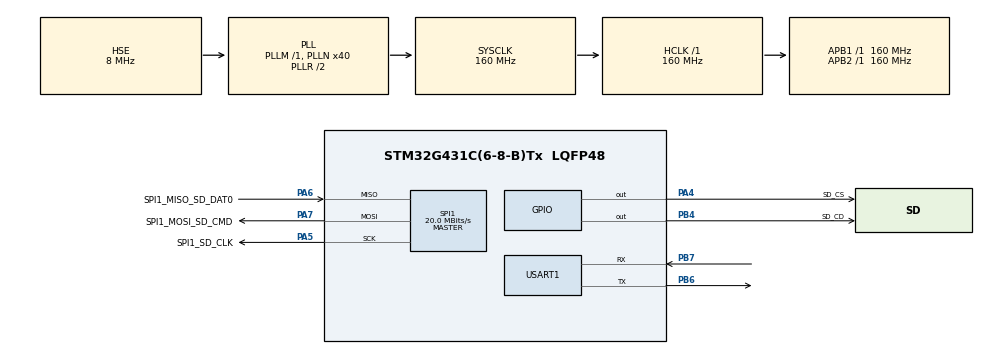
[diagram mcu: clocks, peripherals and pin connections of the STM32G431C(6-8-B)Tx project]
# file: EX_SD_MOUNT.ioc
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Dma.Request0=SPI1_RX
Dma.Request1=SPI1_TX
Dma.SPI1_RX.0.Direction=DMA_PERIPH_TO_MEMORY
Dma.SPI1_RX.0.EventEnable=DISABLE
Dma.SPI1_RX.0.Instance=DMA1_Channel1
Dma.SPI1_RX.0.MemDataAlignment=DMA_MDATAALIGN_BYTE
Dma.SPI1_RX.0.MemInc=DMA_MINC_ENABLE
Dma.SPI1_RX.0.Mode=DMA_CIRCULAR
Dma.SPI1_RX.0.PeriphDataAlignment=DMA_PDATAALIGN_BYTE
Dma.SPI1_RX.0.PeriphInc=DMA_PINC_DISABLE
Dma.SPI1_RX.0.Polarity=HAL_DMAMUX_REQ_GEN_RISING
Dma.SPI1_RX.0.Priority=DMA_PRIORITY_LOW
Dma.SPI1_RX.0.RequestNumber=1
Dma.SPI1_RX.0.SignalID=NONE
Dma.SPI1_RX.0.SyncEnable=DISABLE
Dma.SPI1_RX.0.SyncPolarity=HAL_DMAMUX_SYNC_NO_EVENT
Dma.SPI1_RX.0.SyncRequestNumber=1
Dma.SPI1_RX.0.SyncSignalID=NONE
Dma.SPI1_TX.1.Direction=DMA_MEMORY_TO_PERIPH
Dma.SPI1_TX.1.EventEnable=DISABLE
Dma.SPI1_TX.1.Instance=DMA1_Channel2
Dma.SPI1_TX.1.MemDataAlignment=DMA_MDATAALIGN_BYTE
Dma.SPI1_TX.1.MemInc=DMA_MINC_ENABLE
Dma.SPI1_TX.1.Mode=DMA_CIRCULAR
Dma.SPI1_TX.1.PeriphDataAlignment=DMA_PDATAALIGN_BYTE
Dma.SPI1_TX.1.PeriphInc=DMA_PINC_DISABLE
Dma.SPI1_TX.1.Polarity=HAL_DMAMUX_REQ_GEN_RISING
Dma.SPI1_TX.1.Priority=DMA_PRIORITY_LOW
Dma.SPI1_TX.1.RequestNumber=1
Dma.SPI1_TX.1.SignalID=NONE
Dma.SPI1_TX.1.SyncEnable=DISABLE
Dma.SPI1_TX.1.SyncPolarity=HAL_DMAMUX_SYNC_NO_EVENT
Dma.SPI1_TX.1.SyncRequestNumber=1
Dma.SPI1_TX.1.SyncSignalID=NONE
FATFS._MAX_SS=4096
FATFS._USE_LFN=1
Mcu.Family=STM32G4
Mcu.Name=STM32G431C(6-8-B)Tx
Mcu.Package=LQFP48
NVIC.DMA1_Channel1_IRQn=true\:0\:0\:false\:false\:true\:false\:true\:true
NVIC.DMA1_Channel2_IRQn=true\:0\:0\:false\:false\:true\:false\:true\:true
NVIC.PriorityGroup=NVIC_PRIORITYGROUP_4
NVIC.USART1_IRQn=true\:0\:0\:false\:false\:true\:true\:true\:true
PA4.GPIO_Label=SD_CS
PA4.GPIO_Speed=GPIO_SPEED_FREQ_MEDIUM
PA4.PinState=GPIO_PIN_SET
PA4.Signal=GPIO_Output
PA5.GPIO_Label=SPI1_SD_CLK
PA5.GPIO_Speed=GPIO_SPEED_FREQ_VERY_HIGH
PA5.Mode=Full_Duplex_Master
PA5.Signal=SPI1_SCK
PA6.GPIO_Label=SPI1_MISO_SD_DAT0
PA6.GPIO_Speed=GPIO_SPEED_FREQ_VERY_HIGH
PA6.Mode=Full_Duplex_Master
PA6.Signal=SPI1_MISO
PA7.GPIO_Label=SPI1_MOSI_SD_CMD
PA7.GPIO_Speed=GPIO_SPEED_FREQ_VERY_HIGH
PA7.Mode=Full_Duplex_Master
PA7.Signal=SPI1_MOSI
PB4.GPIO_Label=SD_CD
PB4.GPIO_Speed=GPIO_SPEED_FREQ_MEDIUM
PB4.PinState=GPIO_PIN_SET
PB4.Signal=GPIO_Output
PB6.Mode=Asynchronous
PB6.Signal=USART1_TX
PB7.Mode=Asynchronous
PB7.Signal=USART1_RX
PF0-OSC_IN.Mode=HSE-External-Oscillator
PF0-OSC_IN.Signal=RCC_OSC_IN
PF1-OSC_OUT.Mode=HSE-External-Oscillator
PF1-OSC_OUT.Signal=RCC_OSC_OUT
ProjectManager.HeapSize=0x200
ProjectManager.StackSize=0x400
ProjectManager.TargetToolchain=STM32CubeIDE
RCC.ADC12Freq_Value=160000000
RCC.AHBFreq_Value=160000000
RCC.APB1Freq_Value=160000000
RCC.APB1TimFreq_Value=160000000
RCC.APB2Freq_Value=160000000
RCC.APB2TimFreq_Value=160000000
RCC.CK48CLockSelection=RCC_USBCLKSOURCE_HSI48
RCC.CortexFreq_Value=160000000
RCC.EXTERNAL_CLOCK_VALUE=12288000
RCC.HCLKFreq_Value=160000000
RCC.HSE_VALUE=8000000
RCC.HSI48_VALUE=48000000
RCC.HSI_VALUE=16000000
RCC.LSE_VALUE=32768
RCC.PLLN=40
RCC.PLLSourceVirtual=RCC_PLLSOURCE_HSE
RCC.SYSCLKFreq_VALUE=160000000
RCC.SYSCLKSource=RCC_SYSCLKSOURCE_PLLCLK
RCC.USBFreq_Value=48000000
RCC.VCOOutputFreq_Value=320000000
SPI1.BaudRatePrescaler=SPI_BAUDRATEPRESCALER_8
SPI1.CalculateBaudRate=20.0 MBits/s
SPI1.DataSize=SPI_DATASIZE_8BIT
SPI1.Direction=SPI_DIRECTION_2LINES
SPI1.Mode=SPI_MODE_MASTER
SPI1.VirtualType=VM_MASTER
USART1.VirtualMode-Asynchronous=VM_ASYNC
VP_FATFS_VS_Generic.Mode=User_defined
VP_SYS_VS_DBSignals.Mode=DisableDeadBatterySignals
board=custom

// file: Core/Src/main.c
/* USER CODE BEGIN Header */
/**
 ******************************************************************************
 * @file           : main.c
 * @brief          : Main program body
 ******************************************************************************
 * @attention
 *
 * Copyright (c) 2025 STMicroelectronics.
 * All rights reserved.
 *
 * This software is licensed under terms that can be found in the LICENSE file
 * in the root directory of this software component.
 * If no LICENSE file comes with this software, it is provided AS-IS.
 *
 ******************************************************************************
 */

/*
 *
 *  SPI신호로 SD카드를 마운트 시키는 예제입니다.
 *
 */
/* USER CODE END Header */
#include "main.h"
#include "dma.h"
#include "app_fatfs.h"
#include "spi.h"
#include "usart.h"
#include "gpio.h"

/* USER CODE BEGIN Includes */
#include <stdio.h>
#include "fatfs_sd.h"
#include "string.h"
/* USER CODE END Includes */

/* USER CODE BEGIN PV */

FATFS fs;
FATFS *pfs;
FIL fil;
FRESULT fres;
DWORD fre_clust;
uint32_t totalSpace, freeSpace;
char buffer[100];
/* USER CODE END PV */

void SystemClock_Config(void);

/* USER CODE BEGIN 0 */

int __io_putchar(int ch) {
	(void) HAL_UART_Transmit(&huart1, (uint8_t*) &ch, 1, 100);
	return ch;
}

void SDMount(void)
{
	fres = f_mount(&fs, "",0);
	if(fres == FR_OK)
	{
		printf("SD Card mounted successfully!\r\n");
	}
	else if(fres != FR_OK)
	{
		printf("SD Card mount error!!\r\n");
	}
}

/* USER CODE END 0 */

int main(void)
{

  /* MCU Configuration--------------------------------------------------------*/

  /* Reset of all peripherals, Initializes the Flash interface and the Systick. */
  HAL_Init();

  /* Configure the system clock */
  SystemClock_Config();

  /* Initialize all configured peripherals */
  MX_GPIO_Init();
  MX_DMA_Init();
  MX_SPI1_Init();
  MX_USART1_UART_Init();
  if (MX_FATFS_Init() != APP_OK) {
    Error_Handler();
  }
  /* USER CODE BEGIN 2 */

  /* Wait for SD module reset */
  	HAL_Delay(500);
  	SDMount();
  /* USER CODE END 2 */

  /* Infinite loop */
  /* USER CODE BEGIN WHILE */
	while (1) {

		 HAL_Delay(1000);

    /* USER CODE END WHILE */

	}
}

void SystemClock_Config(void)
{
  RCC_OscInitTypeDef RCC_OscInitStruct = {0};
  RCC_ClkInitTypeDef RCC_ClkInitStruct = {0};

  /** Configure the main internal regulator output voltage
  */
  HAL_PWREx_ControlVoltageScaling(PWR_REGULATOR_VOLTAGE_SCALE1_BOOST);

  /** Initializes the RCC Oscillators according to the specified parameters
  * in the RCC_OscInitTypeDef structure.
  */
  RCC_OscInitStruct.OscillatorType = RCC_OSCILLATORTYPE_HSE;
  RCC_OscInitStruct.HSEState = RCC_HSE_ON;
  RCC_OscInitStruct.PLL.PLLState = RCC_PLL_ON;
  RCC_OscInitStruct.PLL.PLLSource = RCC_PLLSOURCE_HSE;
  RCC_OscInitStruct.PLL.PLLM = RCC_PLLM_DIV1;
  RCC_OscInitStruct.PLL.PLLN = 40;
  RCC_OscInitStruct.PLL.PLLP = RCC_PLLP_DIV2;
  RCC_OscInitStruct.PLL.PLLQ = RCC_PLLQ_DIV2;
  RCC_OscInitStruct.PLL.PLLR = RCC_PLLR_DIV2;
  if (HAL_RCC_OscConfig(&RCC_OscInitStruct) != HAL_OK)
  {
    Error_Handler();
  }

  /** Initializes the CPU, AHB and APB buses clocks
  */
  RCC_ClkInitStruct.ClockType = RCC_CLOCKTYPE_HCLK|RCC_CLOCKTYPE_SYSCLK
                              |RCC_CLOCKTYPE_PCLK1|RCC_CLOCKTYPE_PCLK2;
  RCC_ClkInitStruct.SYSCLKSource = RCC_SYSCLKSOURCE_PLLCLK;
  RCC_ClkInitStruct.AHBCLKDivider = RCC_SYSCLK_DIV1;
  RCC_ClkInitStruct.APB1CLKDivider = RCC_HCLK_DIV1;
  RCC_ClkInitStruct.APB2CLKDivider = RCC_HCLK_DIV1;

  if (HAL_RCC_ClockConfig(&RCC_ClkInitStruct, FLASH_LATENCY_4) != HAL_OK)
  {
    Error_Handler();
  }
}

void Error_Handler(void)
{
	__disable_irq();
	while (1) {
	}
}
